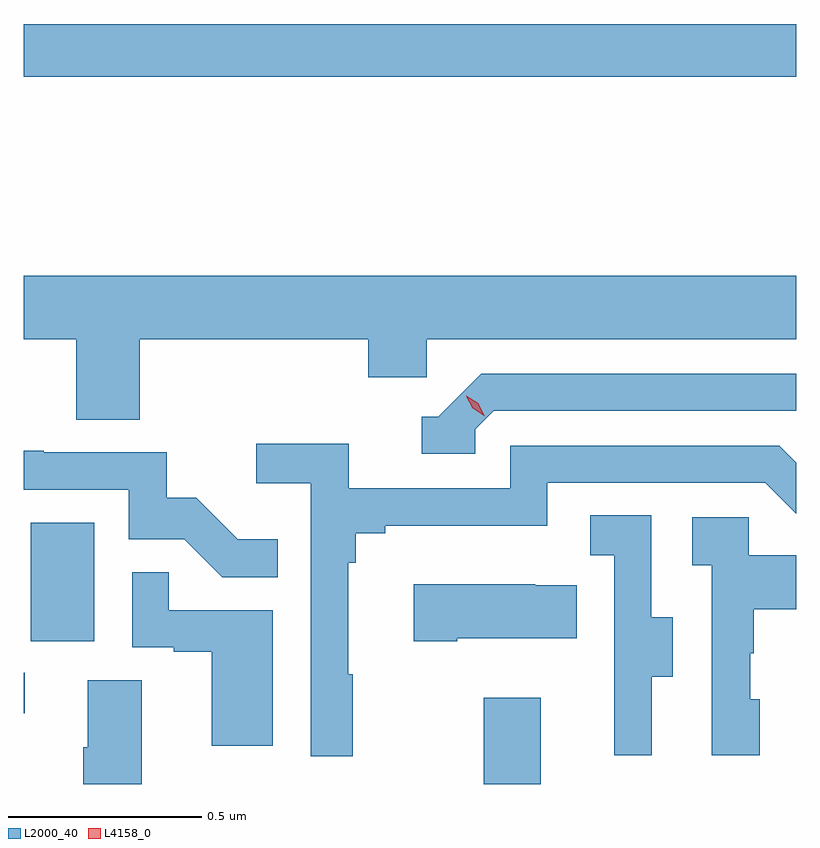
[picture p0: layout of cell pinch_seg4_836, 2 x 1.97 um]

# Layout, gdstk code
import gdstk
lib = gdstk.Library(unit=1e-6, precision=1e-09)
def R(c, l, rs):  # rectangles x0, y0, x1, y1
    for r in rs: c.add(gdstk.rectangle(r[:2], r[2:], *l))
def P(c, l, *ps):  # polygons
    for p in ps: c.add(gdstk.Polygon(p, *l))
L2000_40 = (2000, 40)
L4158_0 = (4158, 0)

pinch_seg4_836 = lib.new_cell('pinch_seg4_836')
R(pinch_seg4_836, L2000_40, [(794.53,798.333,794.677,798.556), (793.339,798.516,793.342,798.621), (793.358,798.702,793.522,799.009), (793.339,800.164,795.339,800.3)])
P(pinch_seg4_836, L2000_40, [(793.64,799.484),(794.231,799.484),(794.231,799.386),(794.382,799.386),(794.382,799.484),(795.339,799.484),(795.339,799.648),(793.339,799.648),(793.339,799.484),(793.475,799.484),(793.475,799.276),(793.64,799.276)],
  [(794.508,799.251),(794.556,799.299),(795.339,799.299),(795.339,799.395),(794.523,799.395),(794.412,799.284),(794.369,799.284),(794.369,799.188),(794.508,799.188)],
  [(794.191,798.617),(794.179,798.617),(794.179,798.905),(794.198,798.905),(794.198,798.982),(794.275,798.982),(794.275,799.001),(794.694,799.001),(794.694,799.113),(795.258,799.113),(795.339,799.032),(795.339,799.165),(795.295,799.209),(794.598,799.209),(794.598,799.098),(794.18,799.098),(794.18,799.214),(793.941,799.214),(793.941,799.112),(794.082,799.112),(794.082,798.405),(794.191,798.405)],
  [(793.997,798.967),(793.893,798.967),(793.786,799.074),(793.71,799.074),(793.71,799.191),(793.391,799.191),(793.391,799.196),(793.339,799.196),(793.339,799.095),(793.611,799.095),(793.611,798.966),(793.755,798.966),(793.853,798.868),(793.997,798.868)],
  [(794.965,798.61),(795.019,798.61),(795.019,798.765),(794.964,798.765),(794.964,799.028),(794.805,799.028),(794.805,798.925),(794.868,798.925),(794.868,798.621),(794.867,798.621),(794.867,798.408),(794.965,798.408)],
  [(795.244,798.552),(795.219,798.552),(795.219,798.671),(795.229,798.671),(795.229,798.785),(795.339,798.785),(795.339,798.925),(795.216,798.925),(795.216,799.023),(795.069,799.023),(795.069,798.899),(795.12,798.899),(795.12,798.408),(795.244,798.408)],
  [(793.984,798.783),(793.715,798.783),(793.715,798.881),(793.62,798.881),(793.62,798.687),(793.727,798.687),(793.727,798.675),(793.826,798.675),(793.826,798.432),(793.984,798.432)],
  [(794.461,798.71),(794.771,798.71),(794.771,798.847),(794.663,798.847),(794.663,798.85),(794.349,798.85),(794.349,798.703),(794.461,798.703)],
  [(793.645,798.602),(793.505,798.602),(793.505,798.428),(793.493,798.428),(793.493,798.333),(793.645,798.333)])
P(pinch_seg4_836, L4158_0, [(794.532,799.285),(794.501,799.305),(794.485,799.337),(794.485,799.338),(794.485,799.338),(794.516,799.318),(794.532,799.285),(794.532,799.285)])

lib.write_gds('pinch_seg4_836.gds')
